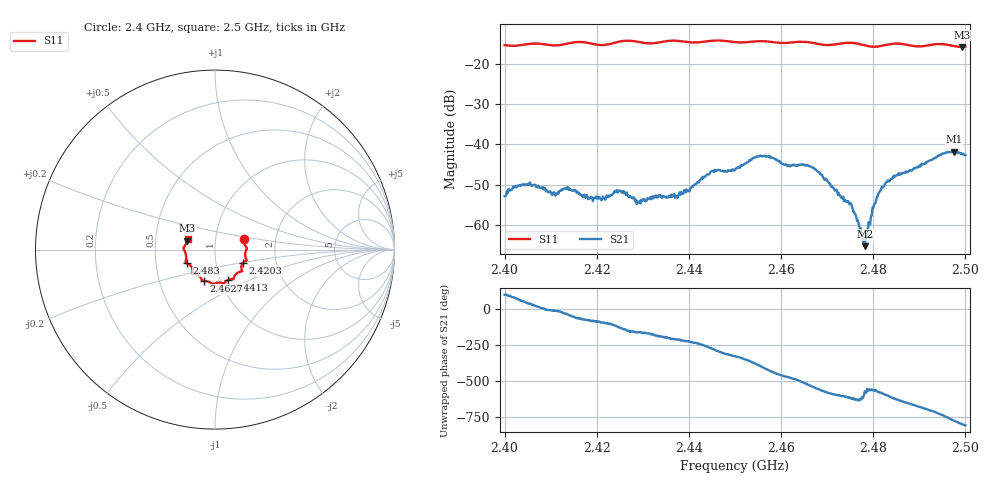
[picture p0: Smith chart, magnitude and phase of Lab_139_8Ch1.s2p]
# Hz S RI R 50
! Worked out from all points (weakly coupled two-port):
!   601 points, 2.4 GHz to 2.5 GHz, reference 50 ohm
!   highest |S21| = -41.79 dB at 2.4975 GHz (marker M1); lowest = -65.3 dB at 2.4782 GHz (marker M2)
!   lowest |S11| = -15.8 dB at 2.4993 GHz (marker M3), VSWR 1.39, Z = 36.4 + j3.71 ohm
!   |S11| at or under -10 dB: start of sweep to end of sweep
!   S12 and S22 are empty: the file has one direction only
!   S11 on the Smith chart (normalised r, x): 2.4 GHz: 1.37, +0.16; 2.4203 GHz: 1.35, -0.21; 2.4413 GHz: 1.09, -0.38; 2.4627 GHz: 0.83, -0.30; 2.483 GHz: 0.72, -0.11; 2.5 GHz: 0.73, +0.09
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2.4e9  0.161 0.0569  -0.00051 0.0022  0 0  0 0
2.405167e9  0.1757 0.0121  0.00224 0.00216  0 0  0 0
2.416667e9  0.1762 -0.0616  0.00103 -0.00206  0 0  0 0
2.420333e9  0.1554 -0.0741  0.000167 -0.0021  0 0  0 0
2.424667e9  0.1496 -0.113  -0.00137 -0.0022  0 0  0 0
2.429e9  0.1413 -0.1229  -0.00177 -0.000648  0 0  0 0
2.433333e9  0.1081 -0.1484  -0.0022 0.000112  0 0  0 0
2.437333e9  0.1021 -0.1642  -0.00198 0.00108  0 0  0 0
2.441333e9  0.0744 -0.1681  -0.00196 0.00253  0 0  0 0
2.445167e9  0.0517 -0.1869  0.000557 0.00459  0 0  0 0
2.45e9  0.0292 -0.1837  0.00407 0.00261  0 0  0 0
2.455833e9  -0.0112 -0.1908  0.00535 -0.00466  0 0  0 0
2.462667e9  -0.0619 -0.1747  -0.00311 -0.00465  0 0  0 0
2.466667e9  -0.0744 -0.1674  -0.00519 -0.000267  0 0  0 0
2.475e9  -0.1251 -0.1333  -0.000426 0.00181  0 0  0 0
2.478167e9  -0.1248 -0.1148  -0.000463 0.000282  0 0  0 0
2.480333e9  -0.1336 -0.0933  -0.00163 0.000842  0 0  0 0
2.483e9  -0.1549 -0.0766  -0.00167 0.00297  0 0  0 0
2.483333e9  -0.1569 -0.0756  -0.00147 0.00317  0 0  0 0
2.4975e9  -0.1638 0.0276  0.00447 -0.00679  0 0  0 0
2.499333e9  -0.1546 0.0495  0.000989 -0.00746  0 0  0 0
2.5e9  -0.1529 0.0586  -2.99e-05 -0.00734  0 0  0 0
